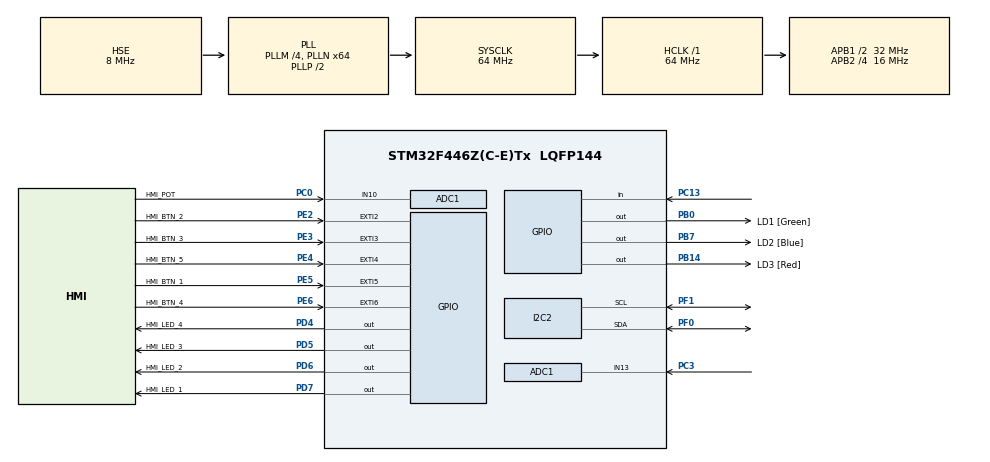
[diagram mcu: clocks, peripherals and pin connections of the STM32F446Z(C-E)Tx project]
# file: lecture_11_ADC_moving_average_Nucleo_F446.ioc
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ADC1.Channel-0\#ChannelRegularConversion=ADC_CHANNEL_10
ADC1.Channel-1\#ChannelRegularConversion=ADC_CHANNEL_13
ADC1.NbrOfConversion=2
ADC1.NbrOfConversionFlag=1
ADC1.Rank-0\#ChannelRegularConversion=1
ADC1.Rank-1\#ChannelRegularConversion=2
ADC1.SamplingTime-0\#ChannelRegularConversion=ADC_SAMPLETIME_480CYCLES
ADC1.SamplingTime-1\#ChannelRegularConversion=ADC_SAMPLETIME_480CYCLES
ADC1.ScanConvMode=ENABLE
ADC1.master=1
Mcu.Family=STM32F4
Mcu.Name=STM32F446Z(C-E)Tx
Mcu.Package=LQFP144
NVIC.EXTI2_IRQn=true\:0\:0\:false\:false\:true\:true\:true\:true
NVIC.EXTI3_IRQn=true\:0\:0\:false\:false\:true\:true\:true\:true
NVIC.EXTI4_IRQn=true\:0\:0\:false\:false\:true\:true\:true\:true
NVIC.EXTI9_5_IRQn=true\:0\:0\:false\:false\:true\:true\:true\:true
NVIC.PriorityGroup=NVIC_PRIORITYGROUP_4
PA13.Mode=Serial_Wire
PA13.Signal=SYS_JTMS-SWDIO
PA14.Mode=Serial_Wire
PA14.Signal=SYS_JTCK-SWCLK
PB0.GPIO_Label=LD1 [Green]
PB0.Signal=GPIO_Output
PB14.GPIO_Label=LD3 [Red]
PB14.Signal=GPIO_Output
PB7.GPIO_Label=LD2 [Blue]
PB7.Signal=GPIO_Output
PC0.GPIO_Label=HMI_POT
PC0.Signal=ADCx_IN10
PC13.Signal=GPIO_Input
PC14-OSC32_IN.Mode=LSE-External-Oscillator
PC14-OSC32_IN.Signal=RCC_OSC32_IN
PC15-OSC32_OUT.Mode=LSE-External-Oscillator
PC15-OSC32_OUT.Signal=RCC_OSC32_OUT
PC3.Signal=ADCx_IN13
PD4.GPIO_Label=HMI_LED_4
PD4.GPIO_ModeDefaultOutputPP=GPIO_MODE_OUTPUT_PP
PD4.GPIO_PuPd=GPIO_NOPULL
PD4.GPIO_Speed=GPIO_SPEED_FREQ_LOW
PD4.PinState=GPIO_PIN_RESET
PD4.Signal=GPIO_Output
PD5.GPIO_Label=HMI_LED_3
PD5.GPIO_ModeDefaultOutputPP=GPIO_MODE_OUTPUT_PP
PD5.GPIO_PuPd=GPIO_NOPULL
PD5.GPIO_Speed=GPIO_SPEED_FREQ_LOW
PD5.PinState=GPIO_PIN_RESET
PD5.Signal=GPIO_Output
PD6.GPIO_Label=HMI_LED_2
PD6.GPIO_ModeDefaultOutputPP=GPIO_MODE_OUTPUT_PP
PD6.GPIO_PuPd=GPIO_NOPULL
PD6.GPIO_Speed=GPIO_SPEED_FREQ_LOW
PD6.PinState=GPIO_PIN_RESET
PD6.Signal=GPIO_Output
PD7.GPIO_Label=HMI_LED_1
PD7.GPIO_ModeDefaultOutputPP=GPIO_MODE_OUTPUT_PP
PD7.GPIO_PuPd=GPIO_NOPULL
PD7.GPIO_Speed=GPIO_SPEED_FREQ_LOW
PD7.PinState=GPIO_PIN_RESET
PD7.Signal=GPIO_Output
PE2.GPIO_Label=HMI_BTN_2
PE2.GPIO_ModeDefaultEXTI=GPIO_MODE_IT_RISING_FALLING
PE2.Signal=GPXTI2
PE3.GPIO_Label=HMI_BTN_3
PE3.GPIO_ModeDefaultEXTI=GPIO_MODE_IT_RISING_FALLING
PE3.Signal=GPXTI3
PE4.GPIO_Label=HMI_BTN_5
PE4.GPIO_ModeDefaultEXTI=GPIO_MODE_IT_RISING_FALLING
PE4.Signal=GPXTI4
PE5.GPIO_Label=HMI_BTN_1
PE5.GPIO_ModeDefaultEXTI=GPIO_MODE_IT_RISING_FALLING
PE5.Signal=GPXTI5
PE6.GPIO_Label=HMI_BTN_4
PE6.GPIO_ModeDefaultEXTI=GPIO_MODE_IT_RISING_FALLING
PE6.Signal=GPXTI6
PF0.Mode=I2C
PF0.Signal=I2C2_SDA
PF1.Mode=I2C
PF1.Signal=I2C2_SCL
PH0-OSC_IN.Mode=HSE-External-Clock-Source
PH0-OSC_IN.Signal=RCC_OSC_IN
PH1-OSC_OUT.Mode=HSE-External-Clock-Source
PH1-OSC_OUT.Signal=RCC_OSC_OUT
ProjectManager.HeapSize=0x200
ProjectManager.StackSize=0x400
ProjectManager.TargetToolchain=STM32CubeIDE
RCC.48MHZClocksFreq_Value=24000000
RCC.AHBFreq_Value=64000000
RCC.APB1CLKDivider=RCC_HCLK_DIV2
RCC.APB1Freq_Value=32000000
RCC.APB1TimFreq_Value=64000000
RCC.APB2CLKDivider=RCC_HCLK_DIV4
RCC.APB2Freq_Value=16000000
RCC.APB2TimFreq_Value=32000000
RCC.CortexFreq_Value=64000000
RCC.HCLKFreq_Value=64000000
RCC.HSE_VALUE=8000000
RCC.HSI_VALUE=16000000
RCC.PLLM=4
RCC.PLLMUL=RCC_PLL_MUL9
RCC.PLLN=64
RCC.PLLQ=7
RCC.PLLSourceVirtual=RCC_PLLSOURCE_HSE
RCC.PRESCALERUSB=RCC_USBCLKSOURCE_PLL_DIV1_5
RCC.SYSCLKFreq_VALUE=64000000
RCC.SYSCLKSource=RCC_SYSCLKSOURCE_PLLCLK
RCC.SYSCLKSourceVirtual=RCC_SYSCLKSOURCE_PLLCLK
RCC.USBFreq_Value=18285714.285714287
RCC.VCOOutputFreq_Value=128000000
SH.ADCx_IN10.0=ADC1_IN10,IN10
SH.ADCx_IN13.0=ADC1_IN13,IN13
board=NUCLEO-F446ZE

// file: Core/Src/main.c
/* USER CODE BEGIN Header */
/**
  ******************************************************************************
  * @file           : main.c
  * @brief          : Main program body - rajzolas 2 potmeterrel OLED-en
  ******************************************************************************
  * @attention
  *
  * Copyright (c) 2024 STMicroelectronics.
  * All rights reserved.
  *
  * This software is licensed under terms that can be found in the LICENSE file
  * in the root directory of this software component.
  * If no LICENSE file comes with this software, it is provided AS-IS.
  *
  ******************************************************************************
  */
/* USER CODE END Header */
#include "main.h"
#include "adc.h"
#include "i2c.h"
#include "gpio.h"

/* USER CODE BEGIN Includes */
#include "OLED.h"
#include "stdio.h"
/* USER CODE END Includes */

/* USER CODE BEGIN PD */
/* Mozgoatlag ablakmerete (kisebb = gyorsabb valasz, nagyobb = stabilabb) */
#define AVG_N            8
/* Kijelzo merete */
#define OLED_W           128
#define OLED_H           64
/* Radir merete pixelben (negyzet oldala) */
#define ERASER_SIZE      3
/* Beepitett gomb: PC13. Nucleo-144 lapon nyomasra HIGH (ha forditva: GPIO_PIN_RESET) */
#define BTN_PORT         GPIOC
#define BTN_PIN          GPIO_PIN_13
#define BTN_PRESSED      GPIO_PIN_SET
/* Gomb prellmentesites (ms) */
#define BTN_LOCKOUT_MS   250
/* USER CODE END PD */

void SystemClock_Config(void);
/* USER CODE BEGIN PFP */
static uint8_t ADC_ReadBoth(uint16_t *ch_a, uint16_t *ch_b);
static void Draw_Point(int16_t x, int16_t y, uint8_t erase);
static void Draw_Line(int16_t x0, int16_t y0, int16_t x1, int16_t y1, uint8_t erase);
/* USER CODE END PFP */

int main(void)
{

  /* MCU Configuration--------------------------------------------------------*/

  /* Reset of all peripherals, Initializes the Flash interface and the Systick. */
  HAL_Init();

  /* Configure the system clock */
  SystemClock_Config();

  /* Initialize all configured peripherals */
  MX_GPIO_Init();
  MX_ADC1_Init();
  MX_I2C2_Init();
  /* USER CODE BEGIN 2 */

  OLED_Init();
  OLED_Fill(Black);
  OLED_UpdateScreen();

  /* Mozgoatlag: ket csatorna, AVG_N elemu gyuru puffer + futo osszeg */
  uint16_t buf[2][AVG_N] = {0};
  uint32_t sum[2] = {0, 0};
  uint8_t  idx = 0;

  /* Puffer elotoltese az elso meresekkel, hogy ne "felfusson" az atlag */
  for (uint8_t i = 0; i < AVG_N; i++)
  {
	  uint16_t a = 0, b = 0;
	  ADC_ReadBoth(&a, &b);
	  buf[0][i] = a;
	  buf[1][i] = b;
	  sum[0] += a;
	  sum[1] += b;
  }

  int16_t x = 0, y = 0;
  int16_t prev_x = (int16_t)((sum[0] / AVG_N) * (OLED_W - 1) / 4095);
  int16_t prev_y = (int16_t)((sum[1] / AVG_N) * (OLED_H - 1) / 4095);

  /* 0 = rajzolas, 1 = torles */
  uint8_t erase = 0;
  GPIO_PinState btn_prev = GPIO_PIN_RESET;
  uint32_t last_toggle = 0;

  /* USER CODE END 2 */

  /* Infinite loop */
  while (1)
  {

    /* USER CODE BEGIN 3 */
	  /* Mindket potmeter beolvasasa (blokkolo modban) es mozgoatlag */
	  uint16_t a, b;
	  if (ADC_ReadBoth(&a, &b))
	  {
		  sum[0] = sum[0] - buf[0][idx] + a;
		  sum[1] = sum[1] - buf[1][idx] + b;
		  buf[0][idx] = a;
		  buf[1][idx] = b;
		  idx++;
		  if (idx >= AVG_N)
		  {
			  idx = 0;
		  }
	  }

	  /* ADC (0..4095) -> kijelzo koordinata */
	  x = (int16_t)((sum[0] / AVG_N) * (OLED_W - 1) / 4095);
	  y = (int16_t)((sum[1] / AVG_N) * (OLED_H - 1) / 4095);

	  /* Gomb: felfuto el eseten valtunk rajzolas <-> torles kozott */
	  GPIO_PinState btn = HAL_GPIO_ReadPin(BTN_PORT, BTN_PIN);
	  if ((btn == BTN_PRESSED) && (btn_prev != BTN_PRESSED) &&
	      ((HAL_GetTick() - last_toggle) > BTN_LOCKOUT_MS))
	  {
		  erase ^= 1;
		  last_toggle = HAL_GetTick();
		  /* Ne huzzon vonalat a mod valtas "ugrasa" miatt */
		  prev_x = x;
		  prev_y = y;
	  }
	  btn_prev = btn;

	  /* Rajzolas / torles az elozo pontbol az ujba (folyamatos vonal) */
	  Draw_Line(prev_x, prev_y, x, y, erase);
	  prev_x = x;
	  prev_y = y;

	  OLED_UpdateScreen();

	  HAL_Delay(5);

  }
  /* USER CODE END 3 */
}

void SystemClock_Config(void)
{
  RCC_OscInitTypeDef RCC_OscInitStruct = {0};
  RCC_ClkInitTypeDef RCC_ClkInitStruct = {0};

  /** Configure the main internal regulator output voltage
  */
  __HAL_RCC_PWR_CLK_ENABLE();
  __HAL_PWR_VOLTAGESCALING_CONFIG(PWR_REGULATOR_VOLTAGE_SCALE3);

  /** Initializes the RCC Oscillators according to the specified parameters
  * in the RCC_OscInitTypeDef structure.
  */
  RCC_OscInitStruct.OscillatorType = RCC_OSCILLATORTYPE_HSE;
  RCC_OscInitStruct.HSEState = RCC_HSE_BYPASS;
  RCC_OscInitStruct.PLL.PLLState = RCC_PLL_ON;
  RCC_OscInitStruct.PLL.PLLSource = RCC_PLLSOURCE_HSE;
  RCC_OscInitStruct.PLL.PLLM = 4;
  RCC_OscInitStruct.PLL.PLLN = 64;
  RCC_OscInitStruct.PLL.PLLP = RCC_PLLP_DIV2;
  RCC_OscInitStruct.PLL.PLLQ = 7;
  RCC_OscInitStruct.PLL.PLLR = 2;
  if (HAL_RCC_OscConfig(&RCC_OscInitStruct) != HAL_OK)
  {
    Error_Handler();
  }

  /** Initializes the CPU, AHB and APB buses clocks
  */
  RCC_ClkInitStruct.ClockType = RCC_CLOCKTYPE_HCLK|RCC_CLOCKTYPE_SYSCLK
                              |RCC_CLOCKTYPE_PCLK1|RCC_CLOCKTYPE_PCLK2;
  RCC_ClkInitStruct.SYSCLKSource = RCC_SYSCLKSOURCE_PLLCLK;
  RCC_ClkInitStruct.AHBCLKDivider = RCC_SYSCLK_DIV1;
  RCC_ClkInitStruct.APB1CLKDivider = RCC_HCLK_DIV2;
  RCC_ClkInitStruct.APB2CLKDivider = RCC_HCLK_DIV4;

  if (HAL_RCC_ClockConfig(&RCC_ClkInitStruct, FLASH_LATENCY_2) != HAL_OK)
  {
    Error_Handler();
  }
}

/* USER CODE BEGIN 4 */

/**
  * @brief  Mindket csatorna (rank 1 = PC0/IN10, rank 2 = PC3/IN13) beolvasasa.
  *         CubeMX: Scan Conversion Mode = Enabled, Number Of Conversion = 2,
  *         EOC Selection = EOC flag at the end of single channel conversion.
  * @retval 1 ha sikeres, 0 ha timeout
  */
static uint8_t ADC_ReadBoth(uint16_t *ch_a, uint16_t *ch_b)
{
	HAL_ADC_Start(&hadc1);

	if (HAL_ADC_PollForConversion(&hadc1, 10) != HAL_OK)
	{
		HAL_ADC_Stop(&hadc1);
		return 0;
	}
	*ch_a = (uint16_t)HAL_ADC_GetValue(&hadc1);

	if (HAL_ADC_PollForConversion(&hadc1, 10) != HAL_OK)
	{
		HAL_ADC_Stop(&hadc1);
		return 0;
	}
	*ch_b = (uint16_t)HAL_ADC_GetValue(&hadc1);

	HAL_ADC_Stop(&hadc1);
	return 1;
}

/**
  * @brief  Egy pont rajzolasa (erase=0: 1 pixel feher) vagy torlese
  *         (erase=1: ERASER_SIZE x ERASER_SIZE fekete negyzet).
  * @note   Feltetelezi, hogy az OLED konyvtarban van OLED_DrawPixel(x, y, szin).
  */
static void Draw_Point(int16_t x, int16_t y, uint8_t erase)
{
	if (!erase)
	{
		OLED_DrawPixel((uint8_t)x, (uint8_t)y, White);
		return;
	}

	int16_t r = ERASER_SIZE / 2;
	for (int16_t dy = -r; dy <= r; dy++)
	{
		for (int16_t dx = -r; dx <= r; dx++)
		{
			int16_t px = x + dx;
			int16_t py = y + dy;
			if (px >= 0 && px < OLED_W && py >= 0 && py < OLED_H)
			{
				OLED_DrawPixel((uint8_t)px, (uint8_t)py, Black);
			}
		}
	}
}

/**
  * @brief  Vonal (Bresenham) ket pont kozott, hogy gyors tekeresnel se
  *         maradjanak hezagok a rajzban.
  */
static void Draw_Line(int16_t x0, int16_t y0, int16_t x1, int16_t y1, uint8_t erase)
{
	int16_t dx = (x1 > x0) ? (x1 - x0) : (x0 - x1);
	int16_t dy = (y1 > y0) ? (y1 - y0) : (y0 - y1);
	int16_t sx = (x0 < x1) ? 1 : -1;
	int16_t sy = (y0 < y1) ? 1 : -1;
	int16_t err = dx - dy;

	while (1)
	{
		Draw_Point(x0, y0, erase);
		if (x0 == x1 && y0 == y1)
		{
			break;
		}
		int16_t e2 = 2 * err;
		if (e2 > -dy)
		{
			err -= dy;
			x0 += sx;
		}
		if (e2 < dx)
		{
			err += dx;
			y0 += sy;
		}
	}
}

/* USER CODE END 4 */

void Error_Handler(void)
{
  __disable_irq();
  while (1)
  {
  }
}
